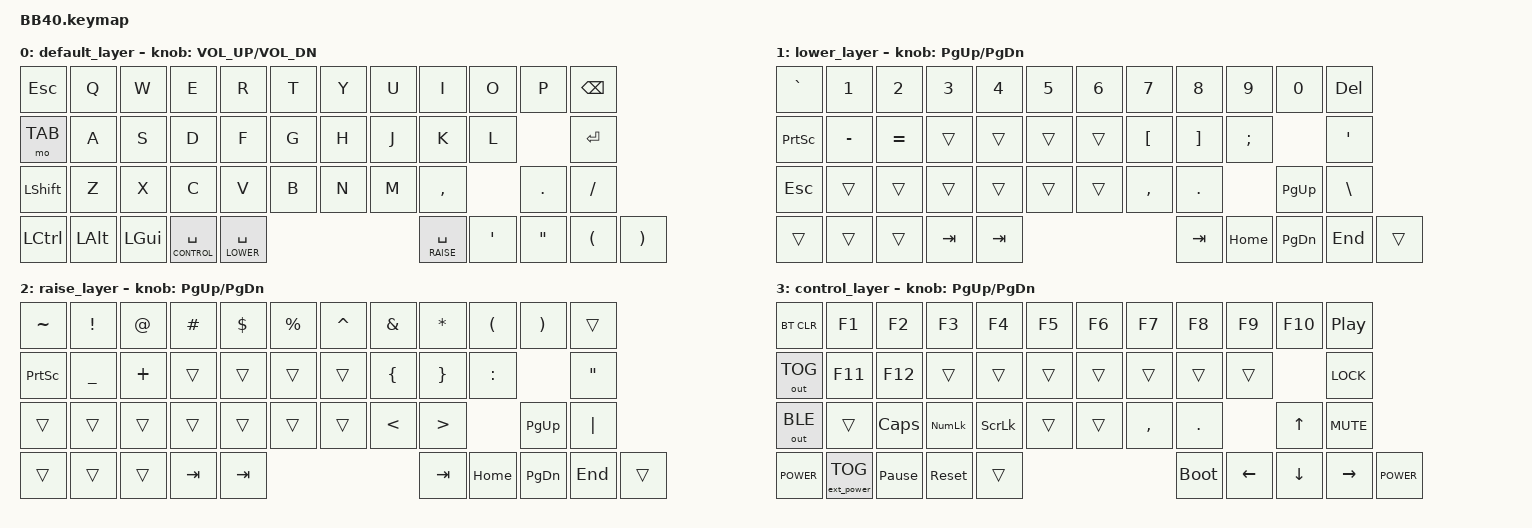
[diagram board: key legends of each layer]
/*
 * Copyright (c) 2022 The ZMK Contributors
 *
 * SPDX-License-Identifier: MIT
 */

#include <behaviors.dtsi>
#include <dt-bindings/zmk/keys.h>
#include <dt-bindings/zmk/bt.h>
#include <dt-bindings/zmk/outputs.h>
#include <dt-bindings/zmk/ext_power.h>

&encoder_1 {
    status = "okay";
};

#define DEFAULT 0
#define LOWER   1
#define RAISE   2
#define CONTROL 3

/ {

    sensors {
        compatible = "zmk,keymap-sensors";
        sensors = <&encoder_1>;
    };

	keymap {
		compatible = "zmk,keymap";
		
		default_layer {
			bindings = <
                &kp ESC    &kp Q     &kp W     &kp E  &kp R     &kp T      &kp Y   &kp U  &kp I     &kp O     &kp P     &kp BSPC
                &mo TAB  &kp A     &kp S     &kp D  &kp F     &kp G      &kp H   &kp J  &kp K     &kp L               &kp ENTER
                &kp LSHFT  &kp Z     &kp X     &kp C  &kp V     &kp B      &kp N   &kp M  &kp COMMA            &kp DOT    &kp FSLH
                &kp LCTRL  &kp LALT  &kp LGUI  &lt CONTROL SPACE  &lt LOWER SPACE  &lt RAISE SPACE  &kp APOS  &kp DQT  &kp LPAR       &kp RPAR
			>;
            sensor-bindings = <&inc_dec_kp C_VOL_UP C_VOL_DN>;
		};

		lower_layer {
			bindings = <
                &kp GRAVE  &kp N1     &kp N2     &kp N3  &kp N4  &kp N5  &kp N6  &kp N7     &kp N8    &kp N9     &kp N0     &kp DEL
                &kp PSCRN  &kp MINUS  &kp EQUAL  &trans  &trans  &trans  &trans  &kp LBKT   &kp RBKT  &kp SEMI              &kp APOS
                &kp ESC     &trans     &trans     &trans  &trans  &trans  &trans  &kp COMMA  &kp DOT              &kp PG_UP  &kp BSLH
                &trans     &trans     &trans     &kp TAB         &kp TAB         &kp TAB              &kp HOME   &kp PG_DN  &kp END     &trans
			>;
            sensor-bindings = <&inc_dec_kp PG_UP PG_DN>;

		};
        
        raise_layer {
			bindings = <
                &kp TILDE  &kp EXCL   &kp AT    &kp HASH  &kp DLLR  &kp PRCNT  &kp CARET  &kp AMPS  &kp STAR  &kp LPAR   &kp RPAR   &trans
                &kp PSCRN  &kp UNDER  &kp PLUS  &trans    &trans    &trans     &trans     &kp LBRC  &kp RBRC  &kp COLON             &kp DQT
                &trans     &trans     &trans    &trans    &trans    &trans     &trans     &kp LT    &kp GT               &kp PG_UP  &kp PIPE
                &trans     &trans     &trans    &kp TAB             &kp TAB               &kp TAB             &kp HOME   &kp PG_DN  &kp END     &trans
			>;
            sensor-bindings = <&inc_dec_kp PG_UP PG_DN>;
		};
        
        control_layer {
			bindings = <
                &bt BT_CLR  &kp F1   &kp F2           &kp F3      &kp F4    &kp F5  &kp F6  &kp F7     &kp F8   &kp F9        &kp F10       &kp C_PP
                &out OUT_TOG  &kp F11  &kp F12          &trans      &trans    &trans  &trans  &trans     &trans   &trans                      &kp K_LOCK
                &out OUT_BLE  &trans   &kp CAPS         &kp KP_NUM  &kp SLCK  &trans  &trans  &kp COMMA  &kp DOT                &kp UP  &kp K_MUTE
                &kp K_POWER  &ext_power EP_TOG   &kp PAUSE_BREAK  &sys_reset              &trans          &bootloader         &kp LEFT  &kp DOWN  &kp RIGHT    &kp C_POWER
			>;
            sensor-bindings = <&inc_dec_kp PG_UP PG_DN>;
		};
	};
};
